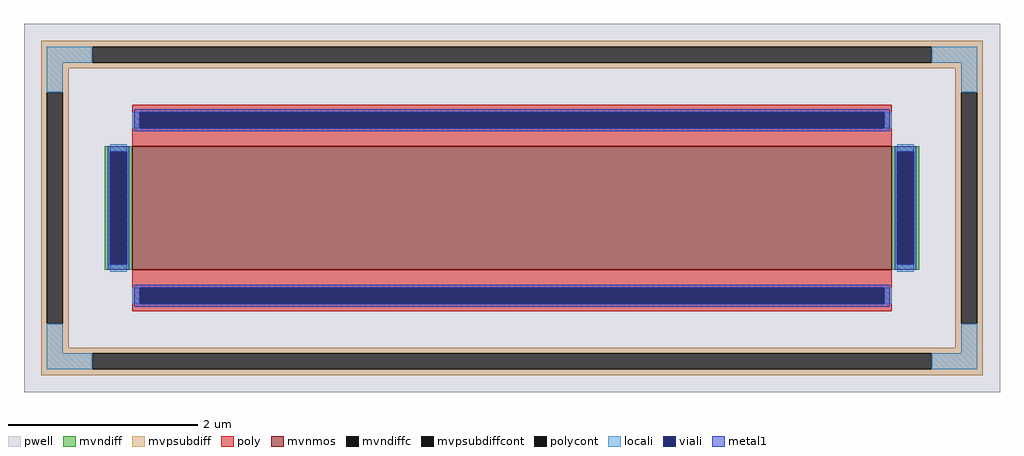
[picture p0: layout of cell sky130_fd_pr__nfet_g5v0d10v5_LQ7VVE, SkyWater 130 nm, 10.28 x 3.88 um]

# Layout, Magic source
magic
tech sky130A
<< pwell >>
rect -514 -194 514 194
<< mvnmos >>
rect -400 -65 400 65
<< mvndiff >>
rect -429 59 -400 65
rect -429 -59 -423 59
rect -406 -59 -400 59
rect -429 -65 -400 -59
rect 400 59 429 65
rect 400 -59 406 59
rect 423 -59 429 59
rect 400 -65 429 -59
<< mvndiffc >>
rect -423 -59 -406 59
rect 406 -59 423 59
<< mvpsubdiff >>
rect -496 170 496 176
rect -496 153 -442 170
rect 442 153 496 170
rect -496 147 496 153
rect -496 122 -467 147
rect -496 -122 -490 122
rect -473 -122 -467 122
rect 467 122 496 147
rect -496 -147 -467 -122
rect 467 -122 473 122
rect 490 -122 496 122
rect 467 -147 496 -122
rect -496 -153 496 -147
rect -496 -170 -442 -153
rect 442 -170 496 -153
rect -496 -176 496 -170
<< mvpsubdiffcont >>
rect -442 153 442 170
rect -490 -122 -473 122
rect 473 -122 490 122
rect -442 -170 442 -153
<< poly >>
rect -400 101 400 109
rect -400 84 -392 101
rect 392 84 400 101
rect -400 65 400 84
rect -400 -84 400 -65
rect -400 -101 -392 -84
rect 392 -101 400 -84
rect -400 -109 400 -101
<< polycont >>
rect -392 84 392 101
rect -392 -101 392 -84
<< locali >>
rect -490 153 -442 170
rect 442 153 490 170
rect -490 122 -473 153
rect 473 122 490 153
rect -400 84 -392 101
rect 392 84 400 101
rect -423 59 -406 67
rect -423 -67 -406 -59
rect 406 59 423 67
rect 406 -67 423 -59
rect -400 -101 -392 -84
rect 392 -101 400 -84
rect -490 -153 -473 -122
rect 473 -153 490 -122
rect -490 -170 -442 -153
rect 442 -170 490 -153
<< viali >>
rect -392 84 392 101
rect -423 -59 -406 59
rect 406 -59 423 59
rect -392 -101 392 -84
<< metal1 >>
rect -398 101 398 104
rect -398 84 -392 101
rect 392 84 398 101
rect -398 81 398 84
rect -426 59 -403 65
rect -426 -59 -423 59
rect -406 -59 -403 59
rect -426 -65 -403 -59
rect 403 59 426 65
rect 403 -59 406 59
rect 423 -59 426 59
rect 403 -65 426 -59
rect -398 -84 398 -81
rect -398 -101 -392 -84
rect 392 -101 398 -84
rect -398 -104 398 -101
<< properties >>
string FIXED_BBOX -481 -161 481 161
string gencell sky130_fd_pr__nfet_g5v0d10v5
string library sky130
string parameters w 1.3 l 8 m 1 nf 1 diffcov 100 polycov 100 guard 1 glc 1 grc 1 gtc 1 gbc 1 tbcov 100 rlcov 100 topc 1 botc 1 poverlap 0 doverlap 1 lmin 0.50 wmin 0.42 compatible {sky130_fd_pr__nfet_01v8 sky130_fd_pr__nfet_01v8_lvt  sky130_fd_bs_flash__special_sonosfet_star  sky130_fd_pr__nfet_g5v0d10v5 sky130_fd_pr__nfet_05v0_nvt  sky130_fd_pr__nfet_03v3_nvt} full_metal 1 viasrc 100 viadrn 100 viagate 100 viagb 0 viagr 0 viagl 0 viagt 0
<< end >>
